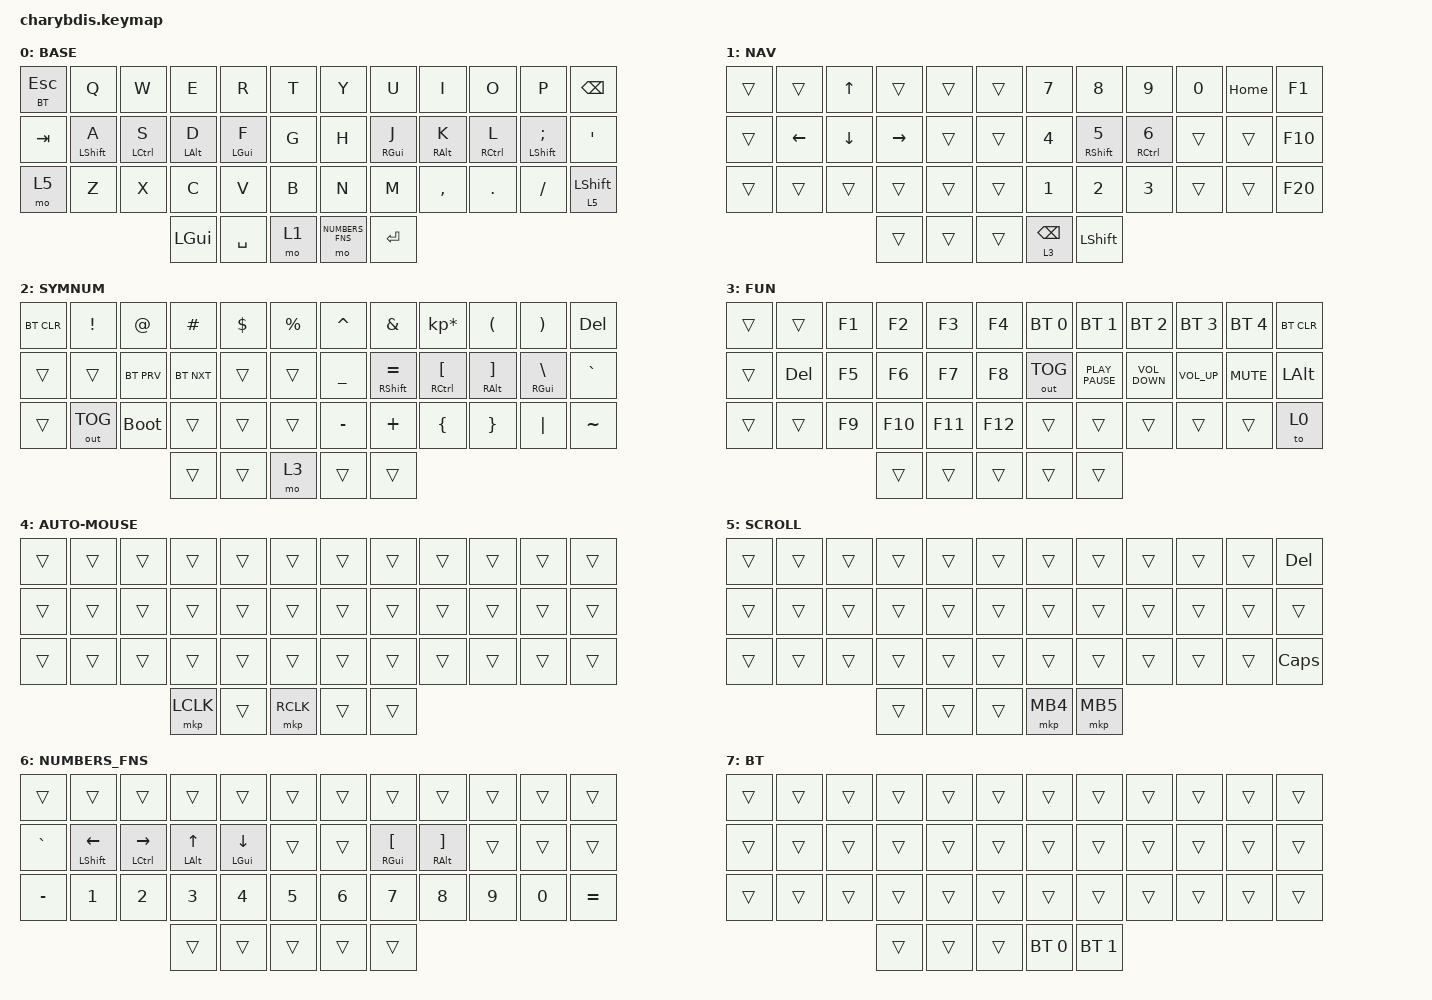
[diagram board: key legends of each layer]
#include <behaviors/mouse_keys.dtsi>
#include <behaviors.dtsi>
#include <dt-bindings/zmk/bt.h>
#include <dt-bindings/zmk/keys.h>
#include <dt-bindings/zmk/mouse.h>
#include <dt-bindings/zmk/outputs.h>

#define U_TAPPING_TERM 200
#define NUMBERS_FNS 6
#define BT 7


/ {
    chosen { zmk,matrix_transform = &default_transform; };
};

/ {
    combos {
        compatible = "zmk,combos";

        LeftClickRight {
            bindings = <&mkp LCLK>;
            key-positions = <19 20>;
        };

        RightClickRight {
            bindings = <&mkp RCLK>;
            key-positions = <20 21>;
        };

        MiddleClickRight {
            bindings = <&mkp MCLK>;
            key-positions = <21 22>;
        };

        ParaLeft {
            bindings = <&kp LEFT_PARENTHESIS>;
            key-positions = <4 16>;
        };

        ParaRight {
            bindings = <&kp RIGHT_PARENTHESIS>;
            key-positions = <7 19>;
        };

        BrakLeft {
            bindings = <&kp LEFT_BRACKET>;
            key-positions = <3 15>;
        };

        BrakRight {
            bindings = <&kp RIGHT_BRACKET>;
            key-positions = <8 20>;
        };

        BraceLeft {
            bindings = <&kp LEFT_BRACE>;
            key-positions = <2 14>;
        };

        BraceRight {
            bindings = <&kp RIGHT_BRACE>;
            key-positions = <9 21>;
        };

        Delete {
            bindings = <&kp DELETE>;
            key-positions = <8 9>;
        };

        CapsWord {
            bindings = <&caps_word>;
            key-positions = <17 18>;
        };
    };

    behaviors {
        u_mt: u_mt {
            compatible = "zmk,behavior-hold-tap";
            label = "u_mt";
            #binding-cells = <2>;
            tapping_term_ms = <U_TAPPING_TERM>;
            flavor = "tap-preferred";
            bindings = <&kp>, <&kp>;
        };

        u_lt: u_lt {
            compatible = "zmk,behavior-hold-tap";
            label = "u_lt";
            #binding-cells = <2>;
            tapping_term_ms = <U_TAPPING_TERM>;
            flavor = "tap-preferred";
            bindings = <&mo>, <&kp>;
        };

        Shift_Enter: Shift_Enter {
            compatible = "zmk,behavior-hold-tap";
            label = "SHIFT_ENTER";
            bindings = <&kp>, <&kp>;

            #binding-cells = <2>;
            hold-trigger-key-positions = <40>;
            tapping-term-ms = <100>;
        };
    };

    keymap {
        compatible = "zmk,keymap";

        BASE {
                    bindings = <
&lt BT ESC  &kp Q               &kp W             &kp E             &kp R               &kp T    &kp Y            &kp U               &kp I              &kp O              &kp P                  &kp BSPC
&kp TAB     &u_mt LEFT_SHIFT A  &u_mt LCTRL S     &u_mt LEFT_ALT D  &u_mt LEFT_GUI F    &kp G    &kp H            &u_mt RIGHT_GUI J   &u_mt RIGHT_ALT K  &u_mt RCTRL L      &u_mt LEFT_SHIFT SEMI  &kp APOS
&mo 5       &kp Z               &kp X             &kp C             &kp V               &kp B    &kp N            &kp M               &kp COMMA          &kp DOT            &kp FSLH               &lt 5 LEFT_SHIFT
                                                  &kp LGUI          &kp SPACE           &mo 1    &mo NUMBERS_FNS  &kp RET
                    >;
                };

        NAV {
            bindings = <
&trans  &trans    &kp UP    &trans     &trans  &trans    &kp N7           &kp N8                &kp N9          &kp N0  &kp HOME  &kp F1
&trans  &kp LEFT  &kp DOWN  &kp RIGHT  &trans  &trans    &kp N4           &u_mt RIGHT_SHIFT N5  &u_mt RCTRL N6  &trans  &trans    &kp F10
&trans  &trans    &trans    &trans     &trans  &trans    &kp N1           &kp N2                &kp N3          &trans  &trans    &kp F20
                            &trans     &trans  &trans    &lt 3 BACKSPACE  &kp LSHFT
            >;
        };

        SYMNUM {
            bindings = <
&bt BT_CLR  &kp EXCL      &kp AT       &kp HASH    &kp DLLR  &kp PRCNT    &kp CARET  &kp AMPS                 &kp KP_MULTIPLY   &kp LPAR              &kp RPAR              &kp DEL
&trans      &trans        &bt BT_PRV   &bt BT_NXT  &trans    &trans       &kp UNDER  &u_mt RIGHT_SHIFT EQUAL  &u_mt RCTRL LBKT  &u_mt RIGHT_ALT RBKT  &u_mt RIGHT_GUI BSLH  &kp GRAVE
&trans      &out OUT_TOG  &bootloader  &trans      &trans    &trans       &kp MINUS  &kp PLUS                 &kp LBRC          &kp RBRC              &kp PIPE              &kp TILDE
                                       &trans      &trans    &mo 3        &trans     &trans
            >;
        };

        FUN {
            bindings = <
&trans  &trans   &kp F1  &kp F2   &kp F3   &kp F4     &bt BT_SEL 0  &bt BT_SEL 1      &bt BT_SEL 2       &bt BT_SEL 3     &bt BT_SEL 4  &bt BT_CLR
&trans  &kp DEL  &kp F5  &kp F6   &kp F7   &kp F8     &out OUT_TOG  &kp K_PLAY_PAUSE  &kp C_VOLUME_DOWN  &kp C_VOLUME_UP  &kp C_MUTE    &kp LALT
&trans  &trans   &kp F9  &kp F10  &kp F11  &kp F12    &trans        &trans            &trans             &trans           &trans        &to 0
                         &trans   &trans   &trans     &trans        &trans
            >;
        };

        AUTO-MOUSE {
            bindings = <
&trans  &trans  &trans  &trans     &trans  &trans       &trans  &trans  &trans  &trans  &trans  &trans
&trans  &trans  &trans  &trans     &trans  &trans       &trans  &trans  &trans  &trans  &trans  &trans
&trans  &trans  &trans  &trans     &trans  &trans       &trans  &trans  &trans  &trans  &trans  &trans
                        &mkp LCLK  &trans  &mkp RCLK    &trans  &trans
            >;
        };

        SCROLL {
            bindings = <
&trans  &trans  &trans  &trans  &trans  &trans    &trans    &trans  &trans  &trans  &trans  &kp DEL
&trans  &trans  &trans  &trans  &trans  &trans    &trans    &trans  &trans  &trans  &trans  &trans
&trans  &trans  &trans  &trans  &trans  &trans    &trans    &trans  &trans  &trans  &trans  &kp CAPSLOCK
                        &trans  &trans  &trans    &mkp MB4  &mkp MB5
            >;
        };

        NUMBERS_FNS {
            bindings = <
&trans      &trans                 &trans             &trans             &trans               &trans    &trans    &trans                &trans                &trans  &trans  &trans
&kp GRAVE   &u_mt LEFT_SHIFT LEFT  &u_mt LCTRL RIGHT  &u_mt LEFT_ALT UP  &u_mt LEFT_GUI DOWN  &trans    &trans    &u_mt RIGHT_GUI LBKT  &u_mt RIGHT_ALT RBKT  &trans  &trans  &trans
&kp MINUS   &kp N1                 &kp N2             &kp N3             &kp N4               &kp N5    &kp N6    &kp N7                &kp N8                &kp N9  &kp N0  &kp EQUAL
                                                      &trans             &trans               &trans    &trans    &trans
            >;
        };

        BT {
            bindings = <
&trans  &trans  &trans  &trans  &trans      &trans    &trans          &trans  &trans  &trans  &trans  &trans
&trans  &trans  &trans  &trans  &trans      &trans    &trans          &trans  &trans  &trans  &trans  &trans
&trans  &trans  &trans  &trans  &trans      &trans    &trans          &trans  &trans  &trans  &trans  &trans
                        &trans  &trans      &trans    &bt BT_SEL 0    &bt BT_SEL 1
            >;
        };
    };
};
